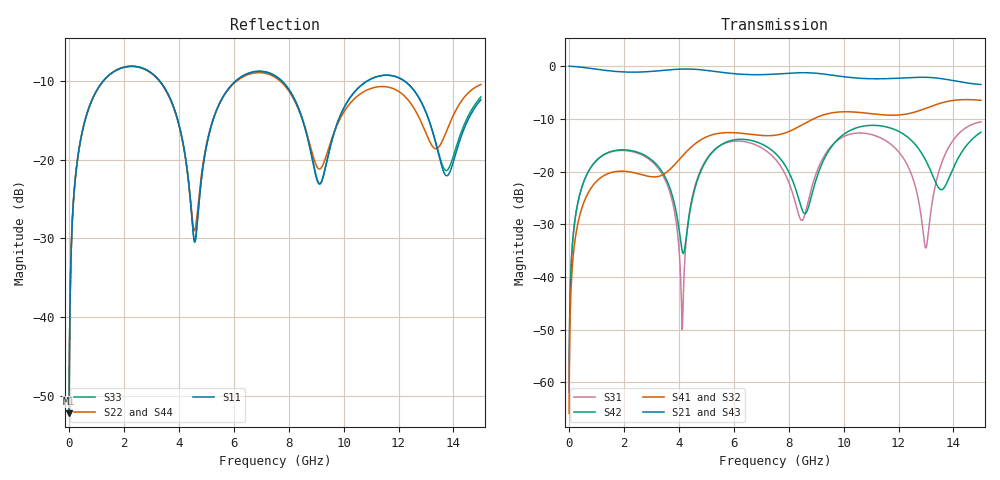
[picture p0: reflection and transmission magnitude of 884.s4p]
! Created with skrf 1.8.0 (http://scikit-rf.org).
# GHz S RI R 50.0
!freq ReS11 ImS11 ReS12 ImS12 ReS13 ImS13
! ReS14 ImS14
! ReS21 ImS21 ReS22 ImS22 ReS23 ImS23
! ReS24 ImS24
! ReS31 ImS31 ReS32 ImS32 ReS33 ImS33
! ReS34 ImS34
! ReS41 ImS41 ReS42 ImS42 ReS43 ImS43
! ReS44 ImS44
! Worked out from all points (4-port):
!   2499 points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, 5 MHz to 15 GHz, reference 50 ohm
!   strongest paths, dB at 5 MHz, 3.476 GHz, 7.19 GHz, 11.1 GHz, 15 GHz:
!     S21: 0.0, -0.8, -1.6, -2.4, -3.5
!     S43: 0.0, -0.8, -1.6, -2.4, -3.5
!     S41: -65.9, -20.4, -13.2, -9.1, -6.5
!     S32: -65.9, -20.5, -13.2, -9.1, -6.6
!     S42: -61.9, -20.8, -15.3, -11.2, -12.6
!     S31: -61.9, -21.3, -16.1, -13.1, -10.6
!   lowest |S11| = -52.2 dB at 5 MHz (marker M1), VSWR 1.00, Z = 50.2 + j0.149 ohm
!   |S11| at or under -10 dB: 3.298 GHz to 6.077 GHz (2.779 GHz wide, 59.3 % of centre); 7.738 GHz to 10.87 GHz (3.129 GHz wide, 33.6 % of centre); 12.21 GHz to end of sweep (the widest 3 of 4)
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0.005  0.00196 0.00148  0.998 -0.00381  0.0001 0.000802  -9.72e-05 -0.000499
       0.998 -0.00381  0.00196 0.00148  -9.72e-05 -0.000499  0.0001 0.000802
       0.0001 0.000802  -9.72e-05 -0.000499  0.00196 0.00148  0.998 -0.00381
       -9.72e-05 -0.000499  0.0001 0.000802  0.998 -0.00381  0.00196 0.00148
1.3193  0.2755 0.1744  0.5384 -0.7344  0.1308 0.0645  -0.0928 -0.00437
        0.5384 -0.7344  0.2742 0.1752  -0.0927 -0.00447  0.1346 0.0592
        0.1308 0.0645  -0.0927 -0.00447  0.2756 0.1744  0.5383 -0.7344
        -0.0928 -0.00437  0.1346 0.0592  0.5383 -0.7344  0.2742 0.1753
4.126719  0.0649 -0.1177  -0.8639 -0.3633  -0.00308 -0.000729  -0.0495 0.131
          -0.8639 -0.3633  0.0693 -0.1134  -0.0508 0.1305  -0.0156 -0.00787
          -0.00308 -0.000729  -0.0508 0.1305  0.0648 -0.1188  -0.8637 -0.3634
          -0.0495 0.131  -0.0156 -0.00787  -0.8637 -0.3634  0.0703 -0.1141
5.239683  0.1157 0.1346  -0.8231 0.3497  0.1022 0.1172  0.1177 0.1904
          -0.8231 0.3497  0.1189 0.1331  0.1159 0.1914  0.1041 0.1138
          0.1022 0.1172  0.1159 0.1914  0.1152 0.1343  -0.8231 0.3499
          0.1177 0.1904  0.1041 0.1138  -0.8231 0.3499  0.119 0.1318
9.197582  0.072 0.00937  0.837 0.1152  -0.0076 0.1259  0.0325 -0.3379
          0.837 0.1152  0.0892 0.00636  0.0384 -0.3373  0.00987 0.1157
          -0.0076 0.1259  0.0384 -0.3373  0.0723 0.0068  0.837 0.1141
          0.0325 -0.3379  0.00987 0.1157  0.837 0.1141  0.0897 0.002
12.99291  0.1424 -0.1418  -0.5361 -0.5699  0.0173 0.0074  -0.2741 0.2877
          -0.5361 -0.5699  0.1387 -0.0526  -0.281 0.2808  -0.053 -0.1158
          0.0173 0.0074  -0.281 0.2808  0.1447 -0.1399  -0.5404 -0.5658
          -0.2741 0.2877  -0.053 -0.1158  -0.5404 -0.5658  0.1357 -0.0553
15  0.2247 0.0849  -0.5832 0.3269  0.2664 0.1283  0.3213 0.348
    -0.5832 0.3269  0.2959 0.0486  0.3094 0.3522  0.225 0.0702
    0.2664 0.1283  0.3094 0.3522  0.2373 0.0794  -0.5792 0.3341
    0.3213 0.348  0.225 0.0702  -0.5792 0.3341  0.2856 0.0484
